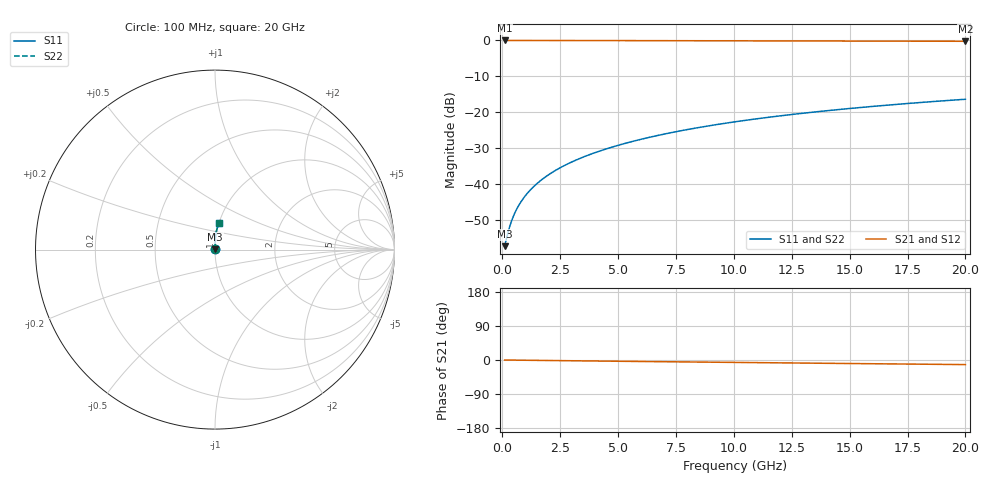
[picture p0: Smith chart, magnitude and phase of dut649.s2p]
! Touchstone file exported from HFSS 2024.1.0
!  File:  C:/UserFiles/LocalFiles/RDL_TSV_Batchsim/temp_RDL_bottom_649_1779785239.aedt
!  Generated:  04:50:01 PM May 26, 2026
!  Design:  RDL_bottom
!  Project:  temp_RDL_bottom_649_1779785239
!  Setup:  Setup1
!  Solution:  Sweep
! Variables:
!  dtsv = 10.80580581um
!  hbump = 3um
!  htsv = 85.83um
!  ldown = 112.53um
!  lrdl = 100um
!  p = 40
!  p1 = 59.17um
!  rhole = 1um
!  t = 450um
!  tdown = 2.17um
!  trdl = 3.915915916um
!  wdown = 25.46um
!  wrdl = 20um
# GHz S MA R 50.000000
! Terminal data exported
! Port[1] = RDL1_T1
! Port[2] = RDL1_T2
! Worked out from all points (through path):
!   200 points, 100 MHz to 20 GHz, reference 50 ohm
!   highest |S21| = -0.01 dB at 100 MHz (marker M1); lowest = -0.2 dB at 20 GHz (marker M2)
!   group delay of S21, straight-line fit = 1.67 ps
!   lowest |S11| = -57.3 dB at 100 MHz (marker M3), VSWR 1.00, Z = 50.1 + j0.0713 ohm
!   |S11| at or under -10 dB: start of sweep to end of sweep
!   |S22| runs from -57.3 to -16.4 dB; largest |S21 - S12| = 2.1e-15
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0.1  0.001358 31.6  0.9988 -0.1  0.9988 -0.1  0.001358 31.6
! Gamma 0 0 0 0
! Port Impedance 50 0 50 0
0.2  0.001841 50.2  0.9988 -0.1  0.9988 -0.1  0.001841 50.2
0.3  0.002428 60.2  0.9988 -0.2  0.9988 -0.2  0.002428 60.2
0.4  0.00305 66.1  0.9987 -0.3  0.9987 -0.3  0.00305 66.1
0.5  0.003682 69.9  0.9987 -0.4  0.9987 -0.4  0.003682 69.9
0.6  0.004318 72.7  0.9986 -0.4  0.9986 -0.4  0.004318 72.7
0.8  0.005594 76.4  0.9985 -0.6  0.9985 -0.6  0.005594 76.4
1.1  0.007523 79.9  0.9984 -0.8  0.9984 -0.8  0.007523 79.9
1.3  0.008821 81.5  0.9982 -0.9  0.9982 -0.9  0.008821 81.5
1.6  0.01079 83.3  0.9981 -1.1  0.9981 -1.1  0.01079 83.3
2.1  0.01411 85.3  0.9977 -1.4  0.9977 -1.4  0.01411 85.3
2.7  0.01817 86.8  0.9972 -1.8  0.9972 -1.8  0.01817 86.8
3.5  0.02372 88.1  0.9964 -2.4  0.9964 -2.4  0.02372 88.1
4.2  0.0287 88.8  0.9955 -2.8  0.9955 -2.8  0.0287 88.8
5  0.03452 89.2  0.9945 -3.3  0.9945 -3.3  0.03452 89.2
5.9  0.04122 89.4  0.9933 -3.9  0.9933 -3.9  0.04122 89.4
6.8  0.04806 89.4  0.992 -4.5  0.992 -4.5  0.04806 89.4
8.4  0.06046 88.9  0.9897 -5.4  0.9897 -5.4  0.06046 88.9
10.1  0.07385 88.0  0.9872 -6.4  0.9872 -6.4  0.07385 88.0
13.4  0.09998 86.0  0.9825 -8.4  0.9825 -8.4  0.09998 86.0
16.7  0.1259 83.7  0.9777 -10.3  0.9777 -10.3  0.1259 83.7
20  0.1514 81.4  0.9727 -12.1  0.9727 -12.1  0.1514 81.4
